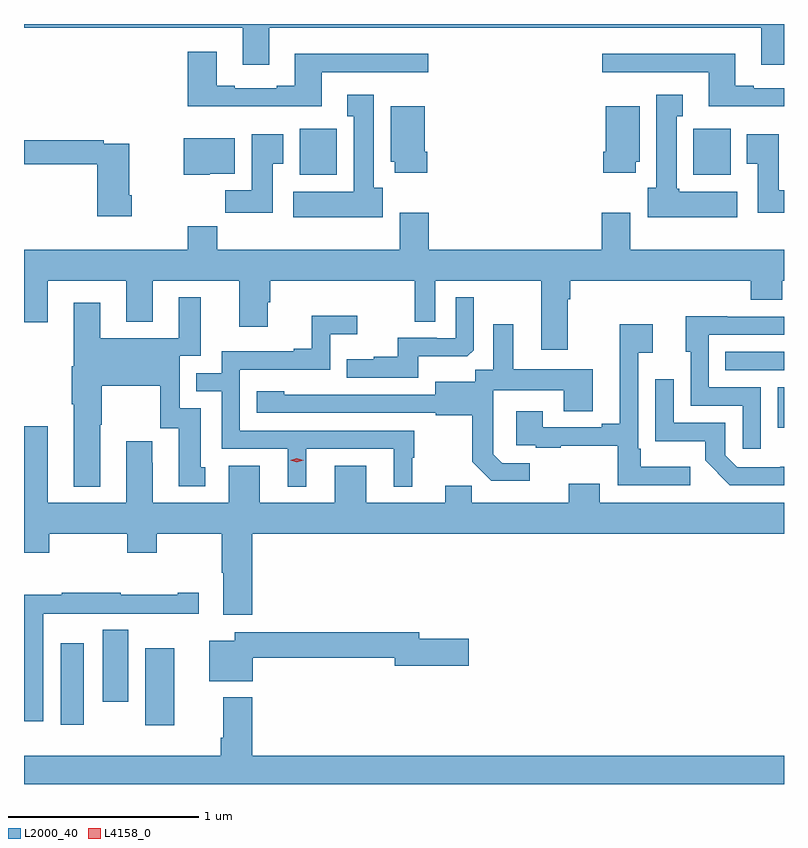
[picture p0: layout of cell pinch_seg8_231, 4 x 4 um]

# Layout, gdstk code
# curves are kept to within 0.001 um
import gdstk
lib = gdstk.Library(unit=1e-6, precision=1e-09)
def R(c, l, rs):  # rectangles x0, y0, x1, y1
    for r in rs: c.add(gdstk.rectangle(r[:2], r[2:], *l))
def P(c, l, *ps):  # polygons
    for p in ps: c.add(gdstk.Polygon(p, *l))
L2000_40 = (2000, 40)
L4158_0 = (4158, 0)

pinch_seg8_231 = lib.new_cell('pinch_seg8_231')
R(pinch_seg8_231, L2000_40, [(627.566,1115.493,627.721,1115.899), (627.122,1115.496,627.244,1115.926), (627.344,1115.616,627.478,1115.996), (630.896,1117.058,630.929,1117.273), (630.619,1117.362,630.929,1117.458), (628.379,1118.39,628.576,1118.632), (630.452,1118.39,630.649,1118.632)])
P(pinch_seg8_231, L2000_40, [(628.219,1119.164),(630.809,1119.164),(630.809,1118.97),(630.929,1118.97),(630.929,1119.184),(626.929,1119.184),(626.929,1119.164),(628.079,1119.164),(628.079,1118.97),(628.219,1118.97)],
  [(628.495,1118.931),(629.056,1118.931),(629.056,1119.028),(628.355,1119.028),(628.355,1118.86),(628.259,1118.86),(628.259,1118.847),(628.039,1118.847),(628.039,1118.86),(627.943,1118.86),(627.943,1119.037),(627.791,1119.037),(627.791,1118.75),(628.495,1118.75)],
  [(630.929,1118.847),(630.769,1118.847),(630.769,1118.86),(630.673,1118.86),(630.673,1119.028),(629.973,1119.028),(629.973,1118.931),(630.533,1118.931),(630.533,1118.75),(630.929,1118.75)],
  [(628.816,1118.322),(628.771,1118.322),(628.771,1118.812),(628.631,1118.812),(628.631,1118.699),(628.664,1118.699),(628.664,1118.302),(628.347,1118.302),(628.347,1118.168),(628.816,1118.168)],
  [(630.682,1118.302),(630.378,1118.302),(630.378,1118.316),(630.364,1118.316),(630.364,1118.699),(630.397,1118.699),(630.397,1118.812),(630.257,1118.812),(630.257,1118.322),(630.212,1118.322),(630.212,1118.168),(630.682,1118.168)],
  [(630.148,1118.46),(630.169,1118.46),(630.169,1118.752),(629.99,1118.752),(629.99,1118.512),(629.978,1118.512),(629.978,1118.4),(630.148,1118.4)],
  [(629.051,1118.512),(629.038,1118.512),(629.038,1118.752),(628.859,1118.752),(628.859,1118.46),(628.88,1118.46),(628.88,1118.4),(629.051,1118.4)],
  [(628.237,1118.449),(628.294,1118.449),(628.294,1118.605),(628.127,1118.605),(628.127,1118.308),(627.988,1118.308),(627.988,1118.19),(628.237,1118.19)],
  [(630.929,1118.308),(630.901,1118.308),(630.901,1118.605),(630.734,1118.605),(630.734,1118.449),(630.791,1118.449),(630.791,1118.19),(630.929,1118.19)],
  [(627.906,1118.396),(628.039,1118.396),(628.039,1118.584),(627.77,1118.584),(627.77,1118.39),(627.906,1118.39)],
  [(627.497,1118.284),(627.484,1118.284),(627.484,1118.553),(627.35,1118.553),(627.35,1118.573),(626.929,1118.573),(626.929,1118.445),(627.314,1118.445),(627.314,1118.172),(627.497,1118.172)],
  [(629.791,1117.736),(629.804,1117.736),(629.804,1117.832),(630.755,1117.832),(630.755,1117.733),(630.919,1117.733),(630.919,1117.832),(630.929,1117.832),(630.929,1117.996),(630.121,1117.996),(630.121,1118.191),(629.969,1118.191),(629.969,1117.996),(629.06,1117.996),(629.06,1118.191),(628.907,1118.191),(628.907,1117.996),(627.947,1117.996),(627.947,1118.12),(627.791,1118.12),(627.791,1117.996),(626.929,1117.996),(626.929,1117.614),(627.055,1117.614),(627.055,1117.832),(627.467,1117.832),(627.467,1117.616),(627.607,1117.616),(627.607,1117.832),(628.061,1117.832),(628.061,1117.59),(628.213,1117.59),(628.213,1117.719),(628.226,1117.719),(628.226,1117.832),(628.986,1117.832),(628.986,1117.618),(629.094,1117.618),(629.094,1117.832),(629.651,1117.832),(629.651,1117.47),(629.791,1117.47)],
  [(627.331,1117.075),(627.339,1117.075),(627.339,1117.28),(627.647,1117.28),(627.647,1117.056),(627.743,1117.056),(627.743,1116.75),(627.883,1116.75),(627.883,1116.852),(627.859,1116.852),(627.859,1117.161),(627.75,1117.161),(627.75,1117.437),(627.859,1117.437),(627.859,1117.747),(627.743,1117.747),(627.743,1117.531),(627.331,1117.531),(627.331,1117.717),(627.191,1117.717),(627.191,1117.384),(627.179,1117.384),(627.179,1117.184),(627.191,1117.184),(627.191,1116.749),(627.331,1116.749)],
  [(629.005,1117.436),(629.263,1117.436),(629.295,1117.467),(629.295,1117.747),(629.202,1117.747),(629.202,1117.53),(629.102,1117.53),(629.102,1117.533),(628.895,1117.533),(628.895,1117.432),(628.771,1117.432),(628.771,1117.42),(628.627,1117.42),(628.627,1117.323),(629.005,1117.323)],
  [(628.414,1116.948),(628.874,1116.948),(628.874,1116.749),(628.972,1116.749),(628.972,1116.9),(628.984,1116.9),(628.984,1117.044),(628.065,1117.044),(628.065,1117.365),(628.542,1117.365),(628.542,1117.55),(628.684,1117.55),(628.684,1117.649),(628.444,1117.649),(628.444,1117.474),(628.349,1117.474),(628.349,1117.461),(627.969,1117.461),(627.969,1117.347),(627.835,1117.347),(627.835,1117.251),(627.969,1117.251),(627.969,1116.948),(628.316,1116.948),(628.316,1116.749),(628.414,1116.749)],
  [(630.807,1117.272),(630.534,1117.272),(630.534,1117.548),(630.929,1117.548),(630.929,1117.644),(630.631,1117.644),(630.631,1117.646),(630.413,1117.646),(630.413,1117.458),(630.438,1117.458),(630.438,1117.176),(630.711,1117.176),(630.711,1116.948),(630.807,1116.948)],
  [(630.436,1116.853),(630.175,1116.853),(630.175,1116.949),(630.162,1116.949),(630.162,1117.454),(630.238,1117.454),(630.238,1117.603),(630.065,1117.603),(630.065,1117.081),(629.969,1117.081),(629.969,1117.062),(629.659,1117.062),(629.659,1117.147),(629.519,1117.147),(629.519,1116.966),(629.623,1116.966),(629.623,1116.954),(629.755,1116.954),(629.755,1116.965),(630.054,1116.965),(630.054,1116.756),(630.436,1116.756)],
  [(629.59,1116.873),(629.445,1116.873),(629.398,1116.92),(629.398,1117.015),(629.4,1117.015),(629.4,1117.256),(629.771,1117.256),(629.771,1117.147),(629.923,1117.147),(629.923,1117.366),(629.503,1117.366),(629.503,1117.603),(629.399,1117.603),(629.399,1117.364),(629.304,1117.364),(629.304,1117.3),(629.093,1117.3),(629.093,1117.233),(628.299,1117.234),(628.299,1117.252),(628.155,1117.252),(628.155,1117.137),(629.097,1117.137),(629.097,1117.125),(629.289,1117.125),(629.289,1116.879),(629.389,1116.779),(629.59,1116.779)],
  [(630.929,1116.854),(630.908,1116.854),(630.908,1116.852),(630.684,1116.852),(630.621,1116.915),(630.621,1117.086),(630.348,1117.086),(630.348,1117.315),(630.252,1117.315),(630.252,1116.989),(630.514,1116.989),(630.514,1116.887),(630.644,1116.756),(630.929,1116.756)],
  [(628.13,1116.5),(630.929,1116.5),(630.929,1116.664),(629.959,1116.664),(629.959,1116.763),(629.795,1116.763),(629.795,1116.664),(629.285,1116.664),(629.285,1116.755),(629.147,1116.755),(629.147,1116.664),(628.729,1116.664),(628.729,1116.859),(628.565,1116.859),(628.565,1116.664),(628.171,1116.664),(628.171,1116.859),(628.007,1116.859),(628.007,1116.664),(627.607,1116.664),(627.607,1116.875),(627.604,1116.875),(627.604,1116.988),(627.467,1116.988),(627.467,1116.664),(627.055,1116.664),(627.055,1117.066),(626.929,1117.066),(626.929,1116.401),(627.063,1116.401),(627.063,1116.5),(627.472,1116.5),(627.472,1116.401),(627.627,1116.401),(627.627,1116.5),(627.97,1116.5),(627.97,1116.296),(627.977,1116.296),(627.977,1116.075),(628.13,1116.075)],
  [(627.03,1116.08),(627.24,1116.08),(627.24,1116.081),(627.574,1116.081),(627.574,1116.08),(627.85,1116.08),(627.85,1116.19),(627.737,1116.19),(627.737,1116.18),(627.437,1116.18),(627.437,1116.19),(627.127,1116.19),(627.127,1116.18),(626.929,1116.18),(626.929,1115.514),(627.03,1115.514)],
  [(628.132,1115.848),(628.88,1115.848),(628.88,1115.806),(629.269,1115.806),(629.269,1115.948),(629.008,1115.948),(629.008,1115.984),(628.038,1115.984),(628.038,1115.938),(627.905,1115.938),(627.905,1115.726),(628.132,1115.726)],
  [(630.929,1115.332),(628.13,1115.332),(628.13,1115.641),(627.977,1115.641),(627.977,1115.428),(627.965,1115.428),(627.965,1115.332),(626.929,1115.332),(626.929,1115.184),(630.929,1115.184)])
P(pinch_seg8_231, L4158_0, [(628.365,1116.878),(628.329,1116.888),(628.329,1116.888),(628.329,1116.888),(628.365,1116.898),(628.401,1116.888),(628.401,1116.888),(628.401,1116.888)])

lib.write_gds('pinch_seg8_231.gds')
